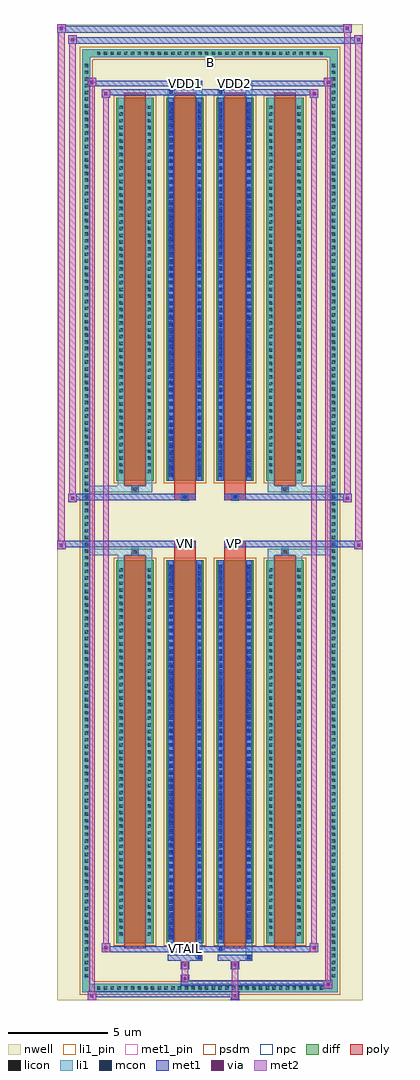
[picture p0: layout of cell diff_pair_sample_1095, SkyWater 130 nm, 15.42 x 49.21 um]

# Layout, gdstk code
import gdstk
lib = gdstk.Library(unit=1e-6, precision=5e-09)
def R(c, l, rs):  # rectangles x0, y0, x1, y1
    for r in rs: c.add(gdstk.rectangle(r[:2], r[2:], *l))
def A(c, l, x, y, w, h, nx, ny, dx, dy):  # array of equal rectangles
    R(c, l, [(x+i*dx, y+j*dy, x+i*dx+w, y+j*dy+h) for i in range(nx) for j in range(ny)])
def P(c, l, *ps):  # polygons
    for p in ps: c.add(gdstk.Polygon(p, *l))
nwell = (64, 20)
diff = (65, 20)
poly = (66, 20)
licon = (66, 44)
li1_pin = (67, 16)
li1 = (67, 20)
mcon = (67, 44)
met1_pin = (68, 16)
met1 = (68, 20)
via = (68, 44)
met2 = (69, 20)
psdm = (94, 20)
npc = (95, 20)

diff_pair_sample_1095 = lib.new_cell('diff_pair_sample_1095')
R(diff_pair_sample_1095, nwell, [(-7.71,-24.17,7.71,25.04), (-5.03,-22.36,-0.01,-0.82), (0.01,-22.36,5.03,-0.82), (-5.03,0.82,-0.01,22.36), (0.01,0.82,5.03,22.36)])
A(diff_pair_sample_1095, diff, -5.815, -23.77, 0.41, 0.41, 34, 2, 0.34, 47.13)
A(diff_pair_sample_1095, diff, -6.44, -23.155, 0.41, 0.41, 1, 136, 0, 0.34)
A(diff_pair_sample_1095, diff, 6.03, -23.155, 0.41, 0.41, 1, 136, 0, 0.34)
A(diff_pair_sample_1095, diff, -4.72, -21.315, 1.88, 19.31, 4, 2, 2.52, 23.32)
R(diff_pair_sample_1095, diff, [(-5.815,-23.77,5.815,-23.36), (-6.44,-23.155,-6.03,23.155), (6.03,-23.155,6.44,23.155), (-5.815,23.36,5.815,23.77)])
P(diff_pair_sample_1095, diff, [(6.44,23.77),(-6.44,23.77),(-6.44,-23.36),(-6.03,-23.36),(-6.03,23.36),(6.03,23.36),(6.03,-23.36),(-6.03,-23.36),(-6.44,-23.36),(-6.44,-23.77),(6.44,-23.77)])
A(diff_pair_sample_1095, poly, -4.33, -21.565, 1.1, 19.81, 4, 2, 2.52, 23.32)
R(diff_pair_sample_1095, poly, [(-3.945,-1.755,-3.615,-1.425), (-3.945,-1.755,-3.615,-1.425), (-1.81,-1.755,-0.71,-1.35), (0.71,-1.755,1.81,-1.35), (3.615,-1.755,3.945,-1.425), (3.615,-1.755,3.945,-1.425), (-1.81,-1.35,-0.71,-1.02), (-1.425,-1.35,-1.095,-1.02), (0.71,-1.35,1.81,-1.02), (1.095,-1.35,1.425,-1.02), (-1.81,1.02,-0.71,1.35), (-1.425,1.02,-1.095,1.35), (0.71,1.02,1.81,1.35), (1.095,1.02,1.425,1.35), (-1.81,1.35,-0.71,1.755), (0.71,1.35,1.81,1.755), (-3.945,1.425,-3.615,1.755), (-3.945,1.425,-3.615,1.755), (3.615,1.425,3.945,1.755), (3.615,1.425,3.945,1.755)])
A(diff_pair_sample_1095, licon, -5.695, -23.65, 0.17, 0.17, 34, 2, 0.34, 47.13)
A(diff_pair_sample_1095, licon, -6.32, -23.035, 0.17, 0.17, 1, 136, 0, 0.34)
A(diff_pair_sample_1095, licon, 6.15, -23.035, 0.17, 0.17, 1, 136, 0, 0.34)
A(diff_pair_sample_1095, licon, -4.58, -20.925, 0.17, 0.17, 1, 55, 0, 0.34)
A(diff_pair_sample_1095, licon, -3.15, -20.925, 0.17, 0.17, 1, 55, 0, 0.34)
A(diff_pair_sample_1095, licon, -2.06, -20.925, 0.17, 0.17, 1, 55, 0, 0.34)
A(diff_pair_sample_1095, licon, -0.63, -20.925, 0.17, 0.17, 1, 55, 0, 0.34)
A(diff_pair_sample_1095, licon, 0.46, -20.925, 0.17, 0.17, 1, 55, 0, 0.34)
A(diff_pair_sample_1095, licon, 1.89, -20.925, 0.17, 0.17, 1, 55, 0, 0.34)
A(diff_pair_sample_1095, licon, 2.98, -20.925, 0.17, 0.17, 1, 55, 0, 0.34)
A(diff_pair_sample_1095, licon, 4.41, -20.925, 0.17, 0.17, 1, 55, 0, 0.34)
A(diff_pair_sample_1095, licon, -4.58, 2.395, 0.17, 0.17, 1, 55, 0, 0.34)
A(diff_pair_sample_1095, licon, -3.15, 2.395, 0.17, 0.17, 1, 55, 0, 0.34)
A(diff_pair_sample_1095, licon, -2.06, 2.395, 0.17, 0.17, 1, 55, 0, 0.34)
A(diff_pair_sample_1095, licon, -0.63, 2.395, 0.17, 0.17, 1, 55, 0, 0.34)
A(diff_pair_sample_1095, licon, 0.46, 2.395, 0.17, 0.17, 1, 55, 0, 0.34)
A(diff_pair_sample_1095, licon, 1.89, 2.395, 0.17, 0.17, 1, 55, 0, 0.34)
A(diff_pair_sample_1095, licon, 2.98, 2.395, 0.17, 0.17, 1, 55, 0, 0.34)
A(diff_pair_sample_1095, licon, 4.41, 2.395, 0.17, 0.17, 1, 55, 0, 0.34)
R(diff_pair_sample_1095, licon, [(-3.865,-1.675,-3.695,-1.505), (3.695,-1.675,3.865,-1.505), (-1.345,-1.27,-1.175,-1.1), (1.175,-1.27,1.345,-1.1), (-1.345,1.1,-1.175,1.27), (1.175,1.1,1.345,1.27), (-3.865,1.505,-3.695,1.675), (3.695,1.505,3.865,1.675)])
R(diff_pair_sample_1095, li1_pin, [(-0.25,22.86,0.25,23.36)])
A(diff_pair_sample_1095, li1, -5.775, -23.73, 0.33, 0.33, 34, 2, 0.34, 47.13)
A(diff_pair_sample_1095, li1, -6.4, -23.115, 0.33, 0.33, 1, 136, 0, 0.34)
A(diff_pair_sample_1095, li1, 6.07, -23.115, 0.33, 0.33, 1, 136, 0, 0.34)
A(diff_pair_sample_1095, li1, -2.06, -21.105, 0.17, 0.17, 1, 53, 0, 0.36)
A(diff_pair_sample_1095, li1, -0.63, -21.105, 0.17, 0.17, 1, 53, 0, 0.36)
A(diff_pair_sample_1095, li1, 0.46, -21.105, 0.17, 0.17, 1, 53, 0, 0.36)
A(diff_pair_sample_1095, li1, 1.89, -21.105, 0.17, 0.17, 1, 53, 0, 0.36)
A(diff_pair_sample_1095, li1, -4.66, -21.005, 0.33, 0.33, 1, 55, 0, 0.34)
A(diff_pair_sample_1095, li1, -3.23, -21.005, 0.33, 0.33, 1, 55, 0, 0.34)
A(diff_pair_sample_1095, li1, -2.14, -21.005, 0.33, 0.33, 1, 55, 0, 0.34)
A(diff_pair_sample_1095, li1, -0.71, -21.005, 0.33, 0.33, 1, 55, 0, 0.34)
A(diff_pair_sample_1095, li1, 0.38, -21.005, 0.33, 0.33, 1, 55, 0, 0.34)
A(diff_pair_sample_1095, li1, 1.81, -21.005, 0.33, 0.33, 1, 55, 0, 0.34)
A(diff_pair_sample_1095, li1, 2.9, -21.005, 0.33, 0.33, 1, 55, 0, 0.34)
A(diff_pair_sample_1095, li1, 4.33, -21.005, 0.33, 0.33, 1, 55, 0, 0.34)
A(diff_pair_sample_1095, li1, -2.06, 2.215, 0.17, 0.17, 1, 53, 0, 0.36)
A(diff_pair_sample_1095, li1, -0.63, 2.215, 0.17, 0.17, 1, 53, 0, 0.36)
A(diff_pair_sample_1095, li1, 0.46, 2.215, 0.17, 0.17, 1, 53, 0, 0.36)
A(diff_pair_sample_1095, li1, 1.89, 2.215, 0.17, 0.17, 1, 53, 0, 0.36)
A(diff_pair_sample_1095, li1, -4.66, 2.315, 0.33, 0.33, 1, 55, 0, 0.34)
A(diff_pair_sample_1095, li1, -3.23, 2.315, 0.33, 0.33, 1, 55, 0, 0.34)
A(diff_pair_sample_1095, li1, -2.14, 2.315, 0.33, 0.33, 1, 55, 0, 0.34)
A(diff_pair_sample_1095, li1, -0.71, 2.315, 0.33, 0.33, 1, 55, 0, 0.34)
A(diff_pair_sample_1095, li1, 0.38, 2.315, 0.33, 0.33, 1, 55, 0, 0.34)
A(diff_pair_sample_1095, li1, 1.81, 2.315, 0.33, 0.33, 1, 55, 0, 0.34)
A(diff_pair_sample_1095, li1, 2.9, 2.315, 0.33, 0.33, 1, 55, 0, 0.34)
A(diff_pair_sample_1095, li1, 4.33, 2.315, 0.33, 0.33, 1, 55, 0, 0.34)
R(diff_pair_sample_1095, li1, [(-6.44,-23.77,-6.03,-23.36), (-6.44,-23.77,-6.03,-23.36), (-6.03,-23.77,6.03,-23.36), (6.03,-23.77,6.44,-23.36), (6.03,-23.77,6.44,-23.36), (-6.44,-23.36,-6.03,23.36), (6.03,-23.36,6.44,23.36), (-0.71,-22.12,-0.38,-21.315), (-0.63,-22.12,-0.46,-21.95), (1.81,-22.12,2.14,-21.315), (1.89,-22.12,2.06,-21.95), (-2.14,-21.69,-1.81,-21.315), (-2.06,-21.69,-1.89,-21.52), (0.38,-21.69,0.71,-21.315), (0.46,-21.69,0.63,-21.52), (-4.66,-21.315,-4.33,-2.005), (-3.23,-21.315,-2.9,-2.005), (-2.14,-21.315,-1.81,-2.005), (-0.71,-21.315,-0.38,-2.005), (0.38,-21.315,0.71,-2.005), (1.81,-21.315,2.14,-2.005), (2.9,-21.315,3.23,-2.005), (4.33,-21.315,4.66,-2.005), (-2.06,-21.105,-1.89,-2.215), (-0.63,-21.105,-0.46,-2.215), (0.46,-21.105,0.63,-2.215), (1.89,-21.105,2.06,-2.215), (-4.66,-2.005,-4.33,-1.425), (-3.23,-2.005,-2.9,-1.425), (2.9,-2.005,3.23,-1.425), (4.33,-2.005,4.66,-1.425), (-6.44,-1.755,-3.945,-1.425), (-4.66,-1.755,-3.945,-1.425), (-3.945,-1.755,-3.615,-1.425), (-3.615,-1.755,-2.9,-1.425), (2.9,-1.755,3.615,-1.425), (3.615,-1.755,3.945,-1.425), (3.615,-1.755,6.44,-1.425), (3.945,-1.755,4.66,-1.425), (-1.425,-1.35,-1.095,-1.02), (1.095,-1.35,1.425,-1.02), (-1.425,1.02,-1.095,1.35), (1.095,1.02,1.425,1.35), (-6.44,1.425,-3.945,1.755), (-4.66,1.425,-3.945,1.755), (-4.66,1.425,-4.33,2.005), (-3.945,1.425,-3.615,1.755), (-3.615,1.425,-2.9,1.755), (-3.23,1.425,-2.9,2.005), (2.9,1.425,3.615,1.755), (2.9,1.425,3.23,2.005), (3.615,1.425,3.945,1.755), (3.615,1.425,6.44,1.755), (3.945,1.425,4.66,1.755), (4.33,1.425,4.66,2.005), (-4.66,2.005,-4.33,21.315), (-3.23,2.005,-2.9,21.315), (-2.14,2.005,-1.81,21.315), (-0.71,2.005,-0.38,21.315), (0.38,2.005,0.71,21.315), (1.81,2.005,2.14,21.315), (2.9,2.005,3.23,21.315), (4.33,2.005,4.66,21.315), (-2.06,2.215,-1.89,21.105), (-0.63,2.215,-0.46,21.105), (0.46,2.215,0.63,21.105), (1.89,2.215,2.06,21.105), (-2.14,21.315,-1.81,21.69), (-0.71,21.315,-0.38,22.12), (0.38,21.315,0.71,21.69), (1.81,21.315,2.14,22.12), (-2.06,21.52,-1.89,21.69), (0.46,21.52,0.63,21.69), (-0.63,21.95,-0.46,22.12), (1.89,21.95,2.06,22.12), (-6.44,23.36,-6.03,23.77), (-6.44,23.36,-6.03,23.77), (-6.03,23.36,6.03,23.77), (6.03,23.36,6.44,23.77), (6.03,23.36,6.44,23.77)])
A(diff_pair_sample_1095, mcon, -2.06, -21.105, 0.17, 0.17, 1, 53, 0, 0.36)
A(diff_pair_sample_1095, mcon, -0.63, -21.105, 0.17, 0.17, 1, 53, 0, 0.36)
A(diff_pair_sample_1095, mcon, 0.46, -21.105, 0.17, 0.17, 1, 53, 0, 0.36)
A(diff_pair_sample_1095, mcon, 1.89, -21.105, 0.17, 0.17, 1, 53, 0, 0.36)
A(diff_pair_sample_1095, mcon, -2.06, 2.215, 0.17, 0.17, 1, 53, 0, 0.36)
A(diff_pair_sample_1095, mcon, -0.63, 2.215, 0.17, 0.17, 1, 53, 0, 0.36)
A(diff_pair_sample_1095, mcon, 0.46, 2.215, 0.17, 0.17, 1, 53, 0, 0.36)
A(diff_pair_sample_1095, mcon, 1.89, 2.215, 0.17, 0.17, 1, 53, 0, 0.36)
R(diff_pair_sample_1095, mcon, [(-0.63,-22.12,-0.46,-21.95), (1.89,-22.12,2.06,-21.95), (-2.06,-21.69,-1.89,-21.52), (0.46,-21.69,0.63,-21.52), (-1.345,-1.27,-1.175,-1.1), (1.175,-1.27,1.345,-1.1), (-1.345,1.1,-1.175,1.27), (1.175,1.1,1.345,1.27), (-2.06,21.52,-1.89,21.69), (0.46,21.52,0.63,21.69), (-0.63,21.95,-0.46,22.12), (1.89,21.95,2.06,22.12)])
R(diff_pair_sample_1095, met1_pin, [(-1.395,-21.73,-1.125,-21.46), (-1.395,-1.29,-1.125,-1.02), (1.125,-1.29,1.395,-1.02), (-1.395,21.91,-1.125,22.18), (1.125,21.91,1.395,22.18)])
A(diff_pair_sample_1095, met1, -2.12, -21.165, 0.29, 0.29, 1, 53, 0, 0.36)
A(diff_pair_sample_1095, met1, -0.69, -21.165, 0.29, 0.29, 1, 53, 0, 0.36)
A(diff_pair_sample_1095, met1, 0.4, -21.165, 0.29, 0.29, 1, 53, 0, 0.36)
A(diff_pair_sample_1095, met1, 1.83, -21.165, 0.29, 0.29, 1, 53, 0, 0.36)
A(diff_pair_sample_1095, met1, -2.12, 2.155, 0.29, 0.29, 1, 53, 0, 0.36)
A(diff_pair_sample_1095, met1, -0.69, 2.155, 0.29, 0.29, 1, 53, 0, 0.36)
A(diff_pair_sample_1095, met1, 0.4, 2.155, 0.29, 0.29, 1, 53, 0, 0.36)
A(diff_pair_sample_1095, met1, 1.83, 2.155, 0.29, 0.29, 1, 53, 0, 0.36)
R(diff_pair_sample_1095, met1, [(-6.17,-24.17,-5.74,-23.74), (1.045,-24.17,1.475,-23.74), (-6.17,-24.03,1.475,-23.74), (5.74,-23.6,6.17,-23.17), (-1.475,-23.46,6.17,-23.17), (-1.475,-23.32,-1.045,-22.89), (-1.475,-22.61,-1.045,-22.18), (1.045,-22.61,1.475,-22.18), (-2.12,-22.18,-0.4,-21.89), (-0.69,-22.18,-0.4,-21.89), (0.4,-22.18,2.12,-21.89), (1.83,-22.18,2.12,-21.89), (-5.46,-21.75,-5.03,-21.32), (-5.46,-21.75,-2.12,-21.46), (-2.12,-21.75,-1.83,-21.46), (-2.12,-21.75,-0.4,-21.46), (-0.4,-21.75,0.4,-21.46), (0.4,-21.75,0.69,-21.46), (0.4,-21.75,2.12,-21.46), (2.12,-21.75,5.46,-21.46), (5.03,-21.75,5.46,-21.32), (-2.12,-21.315,-1.83,-2.005), (-0.69,-21.315,-0.4,-2.005), (0.4,-21.315,0.69,-2.005), (1.83,-21.315,2.12,-2.005), (-7.71,-1.45,-7.28,-1.02), (7.28,-1.45,7.71,-1.02), (-7.71,-1.35,-0.71,-1.02), (-1.81,-1.35,-0.71,-1.02), (0.71,-1.35,1.81,-1.02), (0.71,-1.35,7.71,-1.02), (-1.405,-1.33,-1.115,-1.04), (1.115,-1.33,1.405,-1.04), (-7.14,0.92,-6.71,1.35), (6.71,0.92,7.14,1.35), (-7.14,1.02,-1.81,1.35), (-1.81,1.02,-0.71,1.35), (0.71,1.02,1.81,1.35), (1.81,1.02,7.14,1.35), (-1.405,1.04,-1.115,1.33), (1.115,1.04,1.405,1.33), (-2.12,2.005,-1.83,21.315), (-0.69,2.005,-0.4,21.315), (0.4,2.005,0.69,21.315), (1.83,2.005,2.12,21.315), (-5.46,21.32,-5.03,21.75), (5.03,21.32,5.46,21.75), (-5.46,21.46,-2.12,21.75), (-2.12,21.46,-1.83,21.75), (-2.12,21.46,-0.4,21.75), (-0.4,21.46,0.4,21.75), (0.4,21.46,0.69,21.75), (0.4,21.46,2.12,21.75), (2.12,21.46,5.46,21.75), (-6.17,21.89,-5.74,22.32), (-6.17,21.89,-2.12,22.18), (-2.12,21.89,-0.4,22.18), (-0.69,21.89,-0.4,22.18), (0.4,21.89,2.12,22.18), (1.83,21.89,2.12,22.18), (2.12,21.89,6.17,22.18), (5.74,21.89,6.17,22.32), (-7.14,24.04,-6.71,24.47), (-7.14,24.04,-5.03,24.37), (-5.03,24.04,5.03,24.37), (5.03,24.04,7.71,24.37), (7.28,24.04,7.71,24.47), (-7.71,24.61,-7.28,25.04), (-7.71,24.61,-5.03,24.94), (-5.03,24.61,5.03,24.94), (5.03,24.61,7.14,24.94), (6.71,24.61,7.14,25.04)])
R(diff_pair_sample_1095, via, [(-6.03,-24.03,-5.88,-23.88), (1.185,-24.03,1.335,-23.88), (5.88,-23.46,6.03,-23.31), (-1.335,-23.18,-1.185,-23.03), (-1.335,-22.47,-1.185,-22.32), (1.185,-22.47,1.335,-22.32), (-5.32,-21.61,-5.17,-21.46), (5.17,-21.61,5.32,-21.46), (-7.57,-1.31,-7.42,-1.16), (7.42,-1.31,7.57,-1.16), (-7,1.06,-6.85,1.21), (6.85,1.06,7,1.21), (-5.32,21.46,-5.17,21.61), (5.17,21.46,5.32,21.61), (-6.03,22.03,-5.88,22.18), (5.88,22.03,6.03,22.18), (-7,24.18,-6.85,24.33), (7.42,24.18,7.57,24.33), (-7.57,24.75,-7.42,24.9), (6.85,24.75,7,24.9)])
R(diff_pair_sample_1095, met2, [(-6.17,-24.17,-5.74,-23.74), (-6.1,-24.17,-5.81,22.32), (-5.81,-24.17,-5.74,-23.74), (-6.12,-24.12,-5.79,-23.79), (1.095,-24.12,1.425,-23.79), (1.095,-23.79,1.425,-22.56), (5.74,-23.6,6.17,-23.17), (5.81,-23.6,6.1,22.32), (6.1,-23.6,6.17,-23.17), (5.79,-23.55,6.12,-23.22), (-1.425,-23.27,-1.095,-22.94), (-1.425,-22.94,-1.095,-22.56), (-1.425,-22.56,-1.095,-22.23), (1.095,-22.56,1.425,-22.23), (-5.46,-21.75,-5.03,-21.32), (-5.39,-21.75,-5.1,21.75), (-5.1,-21.75,-5.03,-21.32), (5.03,-21.75,5.46,-21.32), (5.1,-21.75,5.39,21.75), (5.39,-21.75,5.46,-21.32), (-5.41,-21.7,-5.08,-21.37), (5.08,-21.7,5.41,-21.37), (-7.71,-1.45,-7.28,-1.02), (-7.66,-1.45,-7.33,25.04), (-7.33,-1.45,-7.28,-1.02), (7.28,-1.45,7.71,-1.02), (7.33,-1.45,7.66,24.47), (7.66,-1.45,7.71,-1.02), (-7.66,-1.4,-7.33,-1.07), (7.33,-1.4,7.66,-1.07), (-7.14,0.92,-6.71,1.35), (-7.09,0.92,-6.76,24.47), (-6.76,0.92,-6.71,1.35), (6.71,0.92,7.14,1.35), (6.76,0.92,7.09,25.04), (7.09,0.92,7.14,1.35), (-7.09,0.97,-6.76,1.3), (6.76,0.97,7.09,1.3), (-5.46,21.32,-5.03,21.75), (-5.1,21.32,-5.03,21.75), (5.03,21.32,5.46,21.75), (5.39,21.32,5.46,21.75), (-5.41,21.37,-5.08,21.7), (5.08,21.37,5.41,21.7), (-6.17,21.89,-5.74,22.32), (-5.81,21.89,-5.74,22.32), (5.74,21.89,6.17,22.32), (6.1,21.89,6.17,22.32), (-6.12,21.94,-5.79,22.27), (5.79,21.94,6.12,22.27), (-7.14,24.04,-6.71,24.47), (-6.76,24.04,-6.71,24.47), (7.28,24.04,7.71,24.47), (7.66,24.04,7.71,24.47), (-7.09,24.09,-6.76,24.42), (7.33,24.09,7.66,24.42), (-7.71,24.61,-7.28,25.04), (-7.33,24.61,-7.28,25.04), (6.71,24.61,7.14,25.04), (7.09,24.61,7.14,25.04), (-7.66,24.66,-7.33,24.99), (6.76,24.66,7.09,24.99)])
A(diff_pair_sample_1095, psdm, -4.85, -21.445, 2.14, 19.57, 4, 2, 2.52, 23.32)
P(diff_pair_sample_1095, psdm, [(6.57,23.9),(-6.57,23.9),(-6.57,-23.23),(-5.9,-23.23),(-5.9,23.23),(5.9,23.23),(5.9,-23.23),(-5.9,-23.23),(-6.57,-23.23),(-6.57,-23.9),(6.57,-23.9)])
R(diff_pair_sample_1095, npc, [(-3.965,-1.775,-3.595,-1.405), (3.595,-1.775,3.965,-1.405), (-1.445,-1.37,-1.075,-1), (1.075,-1.37,1.445,-1), (-1.445,1,-1.075,1.37), (1.075,1,1.445,1.37), (-3.965,1.405,-3.595,1.775), (3.595,1.405,3.965,1.775)])
diff_pair_sample_1095.add(gdstk.Label('VTAIL', (-1.26,-21.595), layer=68, texttype=5))
diff_pair_sample_1095.add(gdstk.Label('VN', (-1.26,-1.155), layer=68, texttype=5))
diff_pair_sample_1095.add(gdstk.Label('VP', (1.26,-1.155), layer=68, texttype=5))
diff_pair_sample_1095.add(gdstk.Label('B', (0,23.11), layer=67, texttype=5))
diff_pair_sample_1095.add(gdstk.Label('VDD2', (1.26,22.045), layer=68, texttype=5))
diff_pair_sample_1095.add(gdstk.Label('VDD1', (-1.26,22.045), layer=68, texttype=5))

lib.write_gds('diff_pair_sample_1095.gds')
